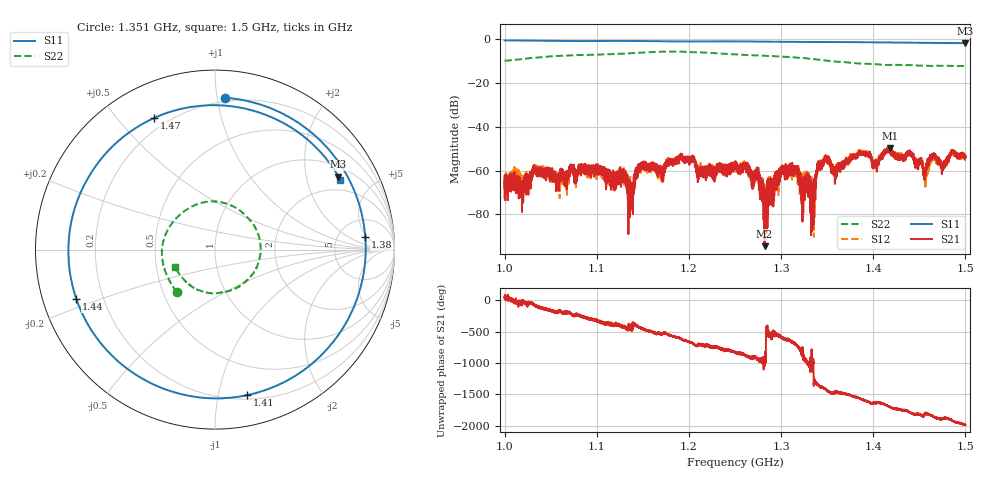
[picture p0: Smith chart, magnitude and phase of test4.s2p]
!Keysight Technologies N9923A: A.08.15
!Date: Friday, 16 February 2024 21:14:03
!Timezone: (GMT-05:00) Eastern Time (US & Canada)
!Model: N9923A
!Serial: MY52412730
!GPS Latitude:
!GPS Longitude:
!GPS TimeStamp: 0001-01-01 00:00:00Z
!GPS Seconds Since Last Read: 0
!CHECKSUM:0926650154
!Correction: S11(ON Q)S21(ON Q)S12(ON Q)S22(ON Q)
!S2P File: Measurements:S11,S21,S12,S22:
# Hz S DB R 50
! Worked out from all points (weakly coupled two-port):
!   10001 points, 1 GHz to 1.5 GHz, reference 50 ohm
!   highest |S21| = -49.75 dB at 1.418 GHz (marker M1); lowest = -94.5 dB at 1.282 GHz (marker M2)
!   lowest |S11| = -1.9 dB at 1.499 GHz (marker M3), VSWR 8.97, Z = 68.7 + j155 ohm
!   |S11| at or under -10 dB: nowhere
!   |S22| runs from -12.4 to -5.8 dB; largest |S21 - S12| = 0.001
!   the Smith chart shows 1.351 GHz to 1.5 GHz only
!   S11 on the Smith chart (normalised r, x): 1.351 GHz: 0.18, +1.05; 1.38 GHz: 9, +4; 1.41 GHz: 0.23, -1.22; 1.44 GHz: 0.10, -0.17; 1.47 GHz: 0.15, +0.63; 1.5 GHz: 1.48, +3.21
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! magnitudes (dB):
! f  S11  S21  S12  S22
! 1 GHz  -0.7  -64.5  -68.1  -10.0
! 1.083 GHz  -1.0  -58.2  -59.3  -7.3
! 1.137 GHz  -0.9  -68.3  -68.2  -6.5
! 1.147 GHz  -1.0  -57.2  -59.2  -6.3
! 1.167 GHz  -1.1  -62.1  -61.0  -5.9
! 1.25 GHz  -1.1  -58.5  -57.9  -7.1
! 1.274 GHz  -1.2  -60.4  -60.0  -7.5
! 1.282 GHz  -1.2  -94.5  -72.9  -7.7
! 1.312 GHz  -1.4  -58.8  -61.0  -8.4
! 1.333 GHz  -1.4  -68.8  -64.6  -9.1
! 1.34 GHz  -1.4  -57.8  -57.0  -9.5
! 1.351 GHz  -1.4  -54.8  -54.0  -10.0
! 1.38 GHz  -1.5  -53.9  -53.6  -11.1
! 1.41 GHz  -1.6  -52.7  -51.9  -11.8
! 1.417 GHz  -1.6  -51.7  -50.1  -11.9
! 1.418 GHz  -1.6  -49.8  -50.7  -11.9
! 1.44 GHz  -1.7  -53.1  -51.8  -12.0
! 1.457 GHz  -1.8  -59.0  -63.8  -12.2
! 1.47 GHz  -1.9  -54.8  -55.4  -12.2
! 1.499 GHz  -1.9  -53.4  -53.6  -12.3
! 1.5 GHz  -1.9  -54.1  -53.5  -12.3
! 1.5 GHz  -1.9  -53.6  -53.7  -12.3
